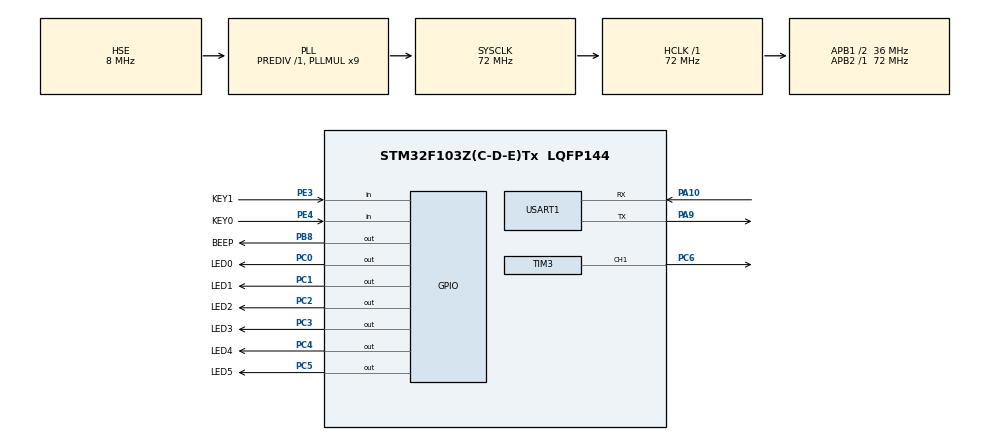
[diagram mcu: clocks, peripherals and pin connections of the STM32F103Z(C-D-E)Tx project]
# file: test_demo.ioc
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Dma.Request0=USART1_RX
Dma.Request1=USART1_TX
Dma.USART1_RX.0.Direction=DMA_PERIPH_TO_MEMORY
Dma.USART1_RX.0.Instance=DMA1_Channel5
Dma.USART1_RX.0.MemDataAlignment=DMA_MDATAALIGN_BYTE
Dma.USART1_RX.0.MemInc=DMA_MINC_ENABLE
Dma.USART1_RX.0.Mode=DMA_CIRCULAR
Dma.USART1_RX.0.PeriphDataAlignment=DMA_PDATAALIGN_BYTE
Dma.USART1_RX.0.PeriphInc=DMA_PINC_DISABLE
Dma.USART1_RX.0.Priority=DMA_PRIORITY_LOW
Dma.USART1_TX.1.Direction=DMA_MEMORY_TO_PERIPH
Dma.USART1_TX.1.Instance=DMA1_Channel4
Dma.USART1_TX.1.MemDataAlignment=DMA_MDATAALIGN_BYTE
Dma.USART1_TX.1.MemInc=DMA_MINC_ENABLE
Dma.USART1_TX.1.Mode=DMA_NORMAL
Dma.USART1_TX.1.PeriphDataAlignment=DMA_PDATAALIGN_BYTE
Dma.USART1_TX.1.PeriphInc=DMA_PINC_DISABLE
Dma.USART1_TX.1.Priority=DMA_PRIORITY_LOW
Mcu.Family=STM32F1
Mcu.Name=STM32F103Z(C-D-E)Tx
Mcu.Package=LQFP144
NVIC.DMA1_Channel4_IRQn=true\:0\:0\:false\:false\:true\:false\:true\:true
NVIC.DMA1_Channel5_IRQn=true\:0\:0\:false\:false\:true\:false\:true\:true
NVIC.PriorityGroup=NVIC_PRIORITYGROUP_4
NVIC.TIM3_IRQn=true\:0\:0\:false\:false\:true\:true\:true\:true
NVIC.USART1_IRQn=true\:0\:0\:false\:false\:true\:true\:true\:true
OSC_IN.Mode=HSE-External-Oscillator
OSC_IN.Signal=RCC_OSC_IN
OSC_OUT.Mode=HSE-External-Oscillator
OSC_OUT.Signal=RCC_OSC_OUT
PA10.Mode=Asynchronous
PA10.Signal=USART1_RX
PA9.Mode=Asynchronous
PA9.Signal=USART1_TX
PB8.GPIO_Label=BEEP
PB8.GPIO_PuPd=GPIO_PULLUP
PB8.GPIO_Speed=GPIO_SPEED_FREQ_HIGH
PB8.PinState=GPIO_PIN_RESET
PB8.Signal=GPIO_Output
PC0.GPIO_Label=LED0
PC0.GPIO_PuPd=GPIO_PULLUP
PC0.GPIO_Speed=GPIO_SPEED_FREQ_HIGH
PC0.PinState=GPIO_PIN_SET
PC0.Signal=GPIO_Output
PC1.GPIO_Label=LED1
PC1.GPIO_PuPd=GPIO_PULLUP
PC1.GPIO_Speed=GPIO_SPEED_FREQ_HIGH
PC1.PinState=GPIO_PIN_SET
PC1.Signal=GPIO_Output
PC2.GPIO_Label=LED2
PC2.GPIO_PuPd=GPIO_PULLUP
PC2.GPIO_Speed=GPIO_SPEED_FREQ_HIGH
PC2.PinState=GPIO_PIN_SET
PC2.Signal=GPIO_Output
PC3.GPIO_Label=LED3
PC3.GPIO_PuPd=GPIO_PULLUP
PC3.GPIO_Speed=GPIO_SPEED_FREQ_HIGH
PC3.PinState=GPIO_PIN_SET
PC3.Signal=GPIO_Output
PC4.GPIO_Label=LED4
PC4.GPIO_PuPd=GPIO_PULLUP
PC4.GPIO_Speed=GPIO_SPEED_FREQ_HIGH
PC4.PinState=GPIO_PIN_SET
PC4.Signal=GPIO_Output
PC5.GPIO_Label=LED5
PC5.GPIO_PuPd=GPIO_PULLUP
PC5.GPIO_Speed=GPIO_SPEED_FREQ_HIGH
PC5.PinState=GPIO_PIN_SET
PC5.Signal=GPIO_Output
PC6.Signal=S_TIM3_CH1
PE3.GPIO_Label=KEY1
PE3.GPIO_PuPd=GPIO_PULLUP
PE3.Signal=GPIO_Input
PE4.GPIO_Label=KEY0
PE4.GPIO_PuPd=GPIO_PULLUP
PE4.Signal=GPIO_Input
ProjectManager.HeapSize=0x200
ProjectManager.StackSize=0x400
ProjectManager.TargetToolchain=MDK-ARM V5
RCC.AHBFreq_Value=72000000
RCC.APB1CLKDivider=RCC_HCLK_DIV2
RCC.APB1Freq_Value=36000000
RCC.APB1TimFreq_Value=72000000
RCC.APB2Freq_Value=72000000
RCC.APB2TimFreq_Value=72000000
RCC.HCLKFreq_Value=72000000
RCC.PLLMUL=RCC_PLL_MUL9
RCC.PLLSourceVirtual=RCC_PLLSOURCE_HSE
RCC.SYSCLKFreq_VALUE=72000000
RCC.SYSCLKSource=RCC_SYSCLKSOURCE_PLLCLK
RCC.USBFreq_Value=72000000
SH.S_TIM3_CH1.0=TIM3_CH1,PWM Generation1 CH1
TIM3.Channel-PWM\ Generation1\ CH1=TIM_CHANNEL_1
TIM3.OCPolarity_1=TIM_OCPOLARITY_LOW
TIM3.Period=500-1
TIM3.Prescaler=72-1
USART1.VirtualMode=VM_ASYNC
VP_SYS_VS_ND.Mode=No_Debug
VP_TIM3_VS_ClockSourceINT.Mode=Internal
board=custom

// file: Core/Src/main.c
/* USER CODE BEGIN Header */
/**
  ******************************************************************************
  * @file           : main.c
  * @brief          : Main program body
  ******************************************************************************
  * @attention
  *
  * Copyright (c) 2023 STMicroelectronics.
  * All rights reserved.
  *
  * This software is licensed under terms that can be found in the LICENSE file
  * in the root directory of this software component.
  * If no LICENSE file comes with this software, it is provided AS-IS.
  *
  ******************************************************************************
  */
/* USER CODE END Header */
#include "main.h"
#include "dma.h"
#include "tim.h"
#include "usart.h"
#include "gpio.h"

/* USER CODE BEGIN Includes */
#include "key.h"

/* USER CODE END Includes */

void SystemClock_Config(void);
/* USER CODE BEGIN PFP */
void HAL_UARTEx_RxEventCallback(UART_HandleTypeDef *huart, uint16_t Size);
/* USER CODE END PFP */

/* USER CODE BEGIN 0 */
	uint8_t TxMsg[] = "begin to exchange! \r\n";
	uint8_t RxMsg[255] ;
	uint32_t RxData;
	uint8_t DutyCycleChangeDir = 1;
	uint16_t PWM_DutyCircle=0;
/* USER CODE END 0 */

int main(void)
{

  /* MCU Configuration--------------------------------------------------------*/

  /* Reset of all peripherals, Initializes the Flash interface and the Systick. */
  HAL_Init();

  /* Configure the system clock */
  SystemClock_Config();

  /* Initialize all configured peripherals */
  MX_GPIO_Init();
  MX_DMA_Init();
  MX_USART1_UART_Init();
  MX_TIM3_Init();
  /* USER CODE BEGIN 2 */

	HAL_UART_Transmit_DMA(&huart1,TxMsg,sizeof(TxMsg));
	//HAL_TIM_Base_Start_IT(&htim3);
	HAL_TIM_PWM_Start(&htim3, TIM_CHANNEL_1);

  /* USER CODE END 2 */

  /* Infinite loop */
  /* USER CODE BEGIN WHILE */
  while (1)
  {
		HAL_UART_Receive_DMA(&huart1,RxMsg,sizeof(RxMsg));

//		doif_keyDowm();
//		HAL_GPIO_TogglePin(LED1_GPIO_Port,LED1_Pin);

		if (DutyCycleChangeDir) 	PWM_DutyCircle++;
		else 						PWM_DutyCircle--;
		if (PWM_DutyCircle>200)		DutyCycleChangeDir=0;
		if (PWM_DutyCircle==0)		DutyCycleChangeDir=1;
		TIM3->CCR1=PWM_DutyCircle;

		HAL_Delay(500);
    /* USER CODE END WHILE */

  }
}

void SystemClock_Config(void)
{
  RCC_OscInitTypeDef RCC_OscInitStruct = {0};
  RCC_ClkInitTypeDef RCC_ClkInitStruct = {0};

  /** Initializes the RCC Oscillators according to the specified parameters
  * in the RCC_OscInitTypeDef structure.
  */
  RCC_OscInitStruct.OscillatorType = RCC_OSCILLATORTYPE_HSE;
  RCC_OscInitStruct.HSEState = RCC_HSE_ON;
  RCC_OscInitStruct.HSEPredivValue = RCC_HSE_PREDIV_DIV1;
  RCC_OscInitStruct.HSIState = RCC_HSI_ON;
  RCC_OscInitStruct.PLL.PLLState = RCC_PLL_ON;
  RCC_OscInitStruct.PLL.PLLSource = RCC_PLLSOURCE_HSE;
  RCC_OscInitStruct.PLL.PLLMUL = RCC_PLL_MUL9;
  if (HAL_RCC_OscConfig(&RCC_OscInitStruct) != HAL_OK)
  {
    Error_Handler();
  }

  /** Initializes the CPU, AHB and APB buses clocks
  */
  RCC_ClkInitStruct.ClockType = RCC_CLOCKTYPE_HCLK|RCC_CLOCKTYPE_SYSCLK
                              |RCC_CLOCKTYPE_PCLK1|RCC_CLOCKTYPE_PCLK2;
  RCC_ClkInitStruct.SYSCLKSource = RCC_SYSCLKSOURCE_PLLCLK;
  RCC_ClkInitStruct.AHBCLKDivider = RCC_SYSCLK_DIV1;
  RCC_ClkInitStruct.APB1CLKDivider = RCC_HCLK_DIV2;
  RCC_ClkInitStruct.APB2CLKDivider = RCC_HCLK_DIV1;

  if (HAL_RCC_ClockConfig(&RCC_ClkInitStruct, FLASH_LATENCY_2) != HAL_OK)
  {
    Error_Handler();
  }
}

/* USER CODE BEGIN 4 */
void HAL_UARTEx_RxEventCallback(UART_HandleTypeDef *huart, uint16_t Size)
{
	if(huart==&huart1)
	{
		RxData= *((uint32_t*)RxMsg);
		HAL_GPIO_TogglePin(LED2_GPIO_Port,LED2_Pin);
		HAL_UART_Receive_IT(&huart1, RxMsg, sizeof(RxMsg));
	}
}
/* USER CODE END 4 */

void Error_Handler(void)
{
  __disable_irq();
  while (1)
  {
  }
}
